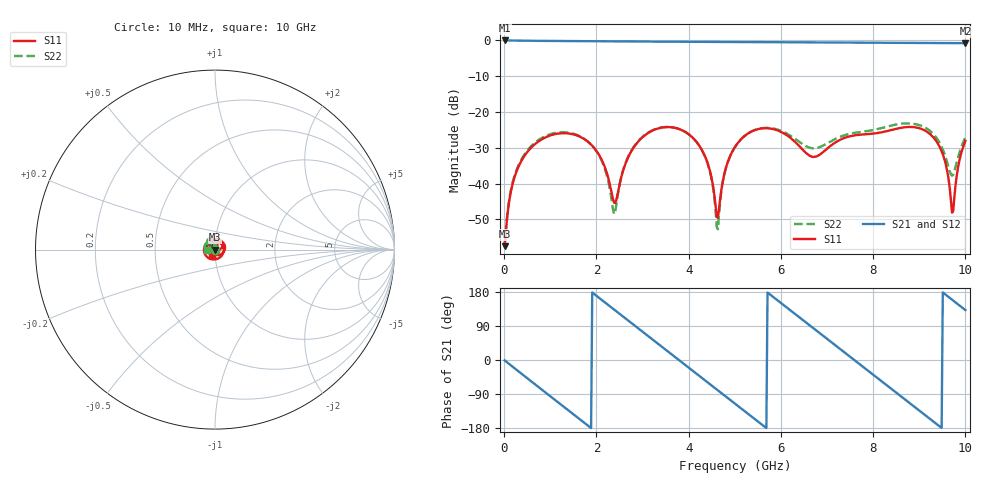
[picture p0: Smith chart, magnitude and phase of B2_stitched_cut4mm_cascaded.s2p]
! Channel segmentation validation - 38 mm 50 ohm symmetric stripline coupon
! Case: Coupon B-2 (with stitching vias) - cut 4 mm from nearest port, cascaded
! Solver: Ansys HFSS 3D Layout 2026 R1, broadband adaptive 1-5 GHz,
!  Delta S 0.02, interpolating sweep 10 MHz - 10 GHz
! Port[1] = U1.PAD1.SIG
! Port[2] = U2.PAD1.SIG
# GHz S MA R 50.0
! Port[1] = U1.PAD1.SIG
! Port[2] = U2.PAD1.SIG
!freq magS11 angS11 magS21 angS21 magS12 angS12 magS22 angS22
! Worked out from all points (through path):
!   401 points, 10 MHz to 10 GHz, reference 50 ohm
!   highest |S21| = -0.01 dB at 10 MHz (marker M1); lowest = -0.8 dB at 10 GHz (marker M2)
!   group delay of S21, straight-line fit = 263 ps
!   lowest |S11| = -57.4 dB at 10 MHz (marker M3), VSWR 1.00, Z = 50.1 - j0.0299 ohm
!   |S11| at or under -10 dB: start of sweep to end of sweep
!   |S22| runs from -57.4 to -23.2 dB; largest |S21 - S12| = 1.3e-14
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0.01  0.001342 -12.9  0.9986 -1.0  0.9986 -1.0  0.001345 -12.8
0.185  0.01002 -91.2  0.9945 -17.9  0.9945 -17.9  0.01048 -84.6
0.485  0.02679 -135.7  0.9897 -46.6  0.9897 -46.6  0.02811 -119.3
1.06  0.04843 156.5  0.982 -101.3  0.982 -101.3  0.0503 -171.4
1.685  0.04381 90.4  0.9761 -160.6  0.9761 -160.6  0.04438 132.3
2.11  0.02187 53.6  0.9731 159.0  0.9731 159.0  0.02123 89.2
2.385  0.005411 90.6  0.9709 132.9  0.9709 132.9  0.003759 -10.6
2.735  0.02674 145.3  0.9677 99.7  0.9677 99.7  0.02739 -129.0
3.36  0.05956 90.8  0.9612 40.5  0.9612 40.5  0.0599 170.2
3.785  0.05816 50.8  0.958 0.3  0.958 0.3  0.0582 131.9
4.235  0.0336 9.6  0.9557 -42.3  0.9557 -42.3  0.03345 93.2
4.635  0.003319 70.2  0.9533 -80.2  0.9533 -80.2  0.002311 168.8
4.785  0.01466 117.2  0.9521 -94.4  0.9521 -94.4  0.0145 -146.9
5.01  0.03293 101.5  0.9501 -115.8  0.9501 -115.8  0.03287 -161.2
5.81  0.05821 18.2  0.9432 168.6  0.9432 168.6  0.05936 140.1
6.685  0.02372 -139.8  0.9383 85.8  0.9383 85.8  0.0312 132.3
7.535  0.04649 44.7  0.9318 5.3  0.9318 5.3  0.05037 143.2
8.335  0.05493 -94.9  0.9257 -70.5  0.9257 -70.5  0.06343 133.3
8.785  0.06195 -164.3  0.9222 -113.0  0.9222 -113.0  0.06939 117.5
9.31  0.04394 128.6  0.9197 -162.7  0.9197 -162.7  0.04899 92.2
9.71  0.003947 20.9  0.9178 159.3  0.9178 159.3  0.01293 134.2
10  0.03962 -115.7  0.9149 131.7  0.9149 131.7  0.04409 -177.9
